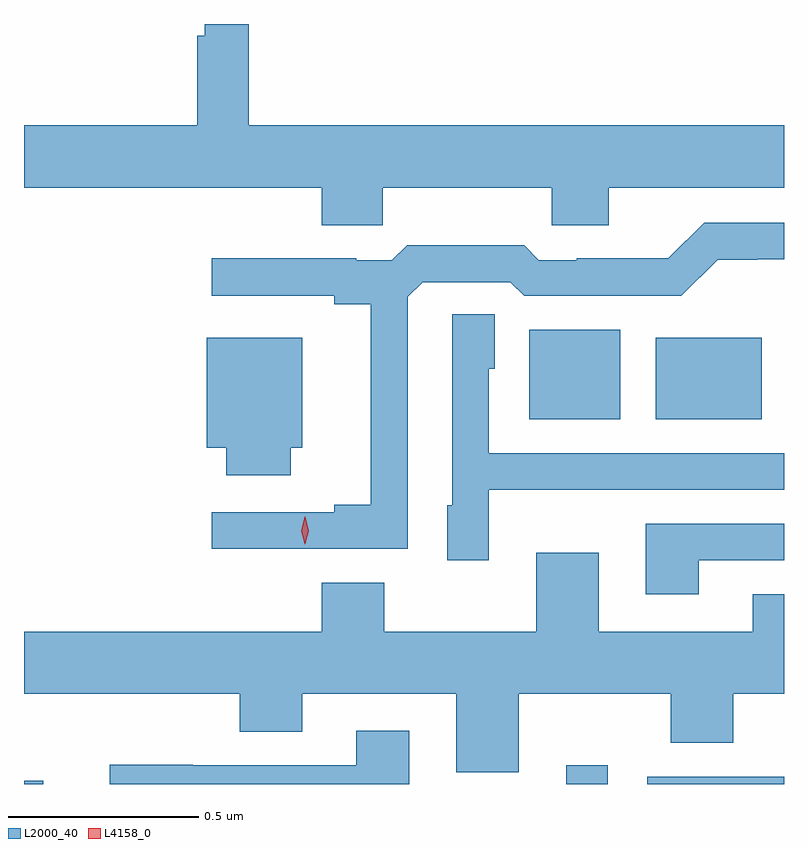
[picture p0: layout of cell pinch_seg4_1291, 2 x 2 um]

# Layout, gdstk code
import gdstk
lib = gdstk.Library(unit=1e-6, precision=1e-09)
def R(c, l, rs):  # rectangles x0, y0, x1, y1
    for r in rs: c.add(gdstk.rectangle(r[:2], r[2:], *l))
def P(c, l, *ps):  # polygons
    for p in ps: c.add(gdstk.Polygon(p, *l))
L2000_40 = (2000, 40)
L4158_0 = (4158, 0)

pinch_seg4_1291 = lib.new_cell('pinch_seg4_1291')
R(pinch_seg4_1291, L2000_40, [(181.303,749.963,181.354,749.971), (182.73,749.963,182.839,750.013), (182.943,749.963,183.303,749.982), (182.633,750.923,182.872,751.159), (182.966,750.923,183.244,751.138)])
P(pinch_seg4_1291, L2000_40, [(182.247,751.532),(182.692,751.532),(182.692,751.434),(182.842,751.434),(182.842,751.532),(183.303,751.532),(183.303,751.696),(181.895,751.696),(181.895,751.963),(181.778,751.963),(181.778,751.932),(181.759,751.932),(181.759,751.696),(181.303,751.696),(181.303,751.532),(182.087,751.532),(182.087,751.434),(182.247,751.434)],
  [(182.313,751.245),(182.352,751.284),(182.583,751.284),(182.619,751.248),(183.033,751.248),(183.128,751.343),(183.232,751.343),(183.232,751.344),(183.303,751.344),(183.303,751.44),(183.093,751.44),(182.999,751.346),(182.758,751.346),(182.758,751.341),(182.658,751.341),(182.619,751.381),(182.311,751.381),(182.271,751.341),(182.177,751.341),(182.177,751.346),(181.797,751.346),(181.797,751.248),(182.12,751.248),(182.12,751.226),(182.216,751.226),(182.216,750.698),(182.12,750.698),(182.12,750.678),(181.797,750.678),(181.797,750.582),(182.313,750.582)],
  [(182.526,750.737),(182.843,750.737),(182.843,750.738),(183.303,750.738),(183.303,750.834),(182.526,750.834),(182.526,751.056),(182.542,751.056),(182.542,751.199),(182.43,751.199),(182.43,750.696),(182.417,750.696),(182.417,750.552),(182.526,750.552)],
  [(182.005,750.848),(182.035,750.848),(182.035,751.138),(181.784,751.138),(181.784,750.848),(181.835,750.848),(181.835,750.776),(182.005,750.776)],
  [(183.079,750.552),(183.303,750.552),(183.303,750.648),(182.939,750.648),(182.939,750.462),(183.079,750.462)],
  [(182.605,750.2),(183.005,750.2),(183.005,750.072),(183.169,750.072),(183.169,750.2),(183.303,750.2),(183.303,750.463),(183.221,750.463),(183.221,750.364),(182.815,750.364),(182.815,750.571),(182.651,750.571),(182.651,750.364),(182.251,750.364),(182.251,750.493),(182.087,750.493),(182.087,750.364),(181.303,750.364),(181.303,750.2),(181.871,750.2),(181.871,750.101),(182.035,750.101),(182.035,750.2),(182.441,750.2),(182.441,749.994),(182.605,749.994)],
  [(182.317,750.103),(182.177,750.103),(182.177,750.012),(181.747,750.012),(181.747,750.014),(181.529,750.014),(181.529,749.963),(182.317,749.963)])
P(pinch_seg4_1291, L4158_0, [(182.042,750.594),(182.042,750.595),(182.032,750.63),(182.042,750.666),(182.042,750.666),(182.043,750.666),(182.052,750.63),(182.043,750.595)])

lib.write_gds('pinch_seg4_1291.gds')
